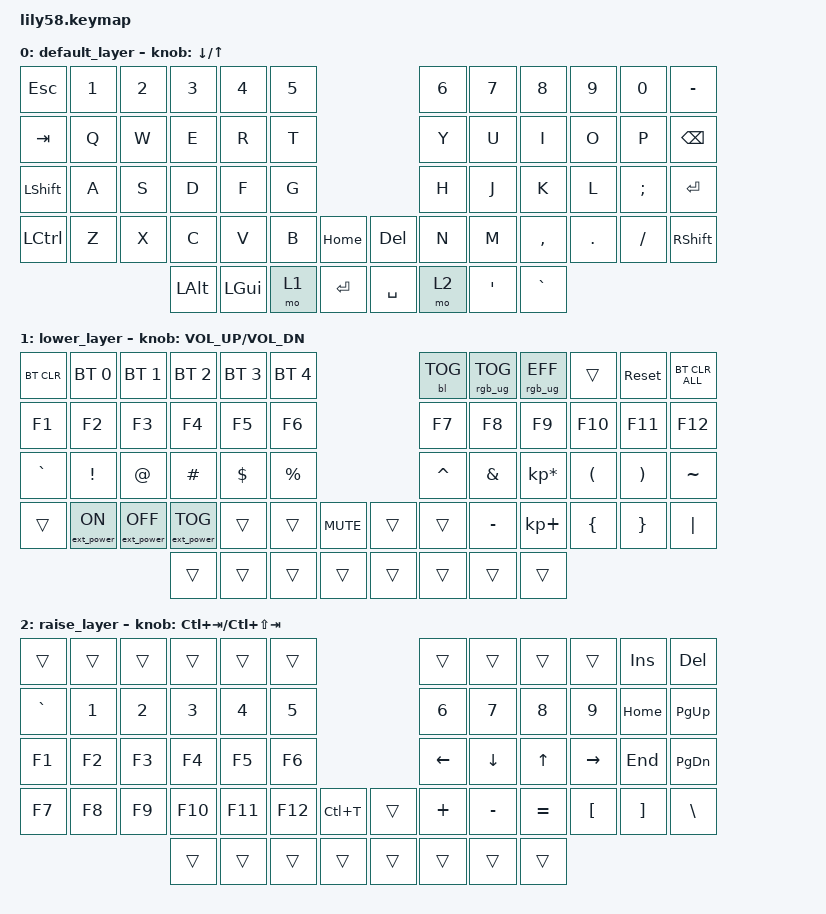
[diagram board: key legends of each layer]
/*
 * Copyright (c) 2020 The ZMK Contributors
 *
 * SPDX-License-Identifier: MIT
 */

#include <behaviors.dtsi>
#include <dt-bindings/zmk/backlight.h>
#include <dt-bindings/zmk/bt.h>
#include <dt-bindings/zmk/ext_power.h>
#include <dt-bindings/zmk/keys.h>
#include <dt-bindings/zmk/rgb.h>

/ {
    keymap {
        compatible = "zmk,keymap";

        default_layer {
            // ------------------------------------------------------------------------------------------------------------
            // |  ESC  |  1  |  2  |  3   |  4   |  5   |                   |  6   |  7    |  8    |  9   |   0   |   `   |
            // |  TAB  |  Q  |  W  |  E   |  R   |  T   |                   |  Y   |  U    |  I    |  O   |   P   |   -   |
            // |  CTRL |  A  |  S  |  D   |  F   |  G   |                   |  H   |  J    |  K    |  L   |   ;   |   '   |
            // | SHIFT |  Z  |  X  |  C   |  V   |  B   |   "["  |  |  "]"  |  N   |  M    |  ,    |  .   |   /   | SHIFT |
            //                     | ALT  | GUI  | LOWER|  SPACE |  | ENTER | RAISE| BSPC  | GUI   |

            bindings = <
&kp ESC    &kp N1  &kp N2  &kp N3    &kp N4    &kp N5                          &kp N6  &kp N7            &kp N8     &kp N9   &kp N0    &kp MINUS
&kp TAB    &kp Q   &kp W   &kp E     &kp R     &kp T                           &kp Y   &kp U             &kp I      &kp O    &kp P     &kp BACKSPACE
&kp LSHFT  &kp A   &kp S   &kp D     &kp F     &kp G                           &kp H   &kp J             &kp K      &kp L    &kp SEMI  &kp ENTER
&kp LCTRL  &kp Z   &kp X   &kp C     &kp V     &kp B   &kp HOME     &kp DELETE   &kp N   &kp M             &kp COMMA  &kp DOT  &kp FSLH  &kp RSHFT
                           &kp LALT  &kp LGUI  &mo 1   &kp ENTER    &kp SPACE  &mo 2   &kp SINGLE_QUOTE  &kp GRAVE
            >;

            sensor-bindings = <&inc_dec_kp DOWN UP_ARROW>;
        };

        lower_layer {
            // ------------------------------------------------------------------------------------------------------------
            // | BTCLR | BT1 | BT2 |  BT3 |  BT4 |  BT5 |                   |      |       |       |      |       |       |
            // |  F1   |  F2 |  F3 |  F4  |  F5  |  F6  |                   |  F7  |  F8   |  F9   |  F10 |  F11  |  F12  |
            // |   `   |  !  |  @  |  #   |  $   |  %   |                   |  ^   |  &    |  *    |  (   |   )   |   ~   |
            // |       |     |     |      |      |      |        |  |       |      |  _    |  +    |  {   |   }   |  "|"  |
            //                     |      |      |      |        |  |       |      |       |       |

            bindings = <
&bt BT_CLR  &bt BT_SEL 0      &bt BT_SEL 1       &bt BT_SEL 2       &bt BT_SEL 3  &bt BT_SEL 4                    &bl BL_TOG  &rgb_ug RGB_TOG  &rgb_ug RGB_EFF  &trans    &sys_reset  &bt BT_CLR_ALL
&kp F1      &kp F2            &kp F3             &kp F4             &kp F5        &kp F6                          &kp F7      &kp F8           &kp F9           &kp F10   &kp F11     &kp F12
&kp GRAVE   &kp EXCL          &kp AT             &kp HASH           &kp DOLLAR    &kp PRCNT                       &kp CARET   &kp AMPS         &kp KP_MULTIPLY  &kp LPAR  &kp RPAR    &kp TILDE
&trans      &ext_power EP_ON  &ext_power EP_OFF  &ext_power EP_TOG  &trans        &trans        &kp C_MUTE &trans  &trans      &kp MINUS        &kp KP_PLUS      &kp LBRC  &kp RBRC    &kp PIPE
                                                 &trans             &trans        &trans        &trans    &trans  &trans      &trans           &trans
            >;

            sensor-bindings = <&inc_dec_kp C_VOL_UP C_VOL_DN>;
        };

        raise_layer {
            // ------------------------------------------------------------------------------------------------------------
            // |       |     |     |      |      |      |                   |      |       |       |      |       |       |
            // |   `   |  1  |  2  |  3   |  4   |  5   |                   |  6   |   7   |   8   |  9   |   0   |       |
            // |   F1  |  F2 |  F3 |  F4  |  F5  |  F6  |                   |      |   <-  |   v   |  ^   |  ->   |       |
            // |   F7  |  F8 |  F9 |  F10 |  F11 |  F12 |        |  |       |  +   |   -   |   =   |  [   |   ]   |   \   |
            //                     |      |      |      |        |  |       |      |       |       |

            bindings = <
&trans     &trans  &trans  &trans   &trans   &trans                     &trans    &trans     &trans        &trans     &kp INS   &kp DELETE
&kp GRAVE  &kp N1  &kp N2  &kp N3   &kp N4   &kp N5                     &kp N6    &kp N7     &kp N8        &kp N9     &kp HOME  &kp PG_UP
&kp F1     &kp F2  &kp F3  &kp F4   &kp F5   &kp F6                     &kp LEFT  &kp DOWN   &kp UP_ARROW  &kp RIGHT  &kp END   &kp PAGE_DOWN
&kp F7     &kp F8  &kp F9  &kp F10  &kp F11  &kp F12  &kp LC(T)    &trans  &kp PLUS  &kp MINUS  &kp EQUAL     &kp LBKT   &kp RBKT  &kp BSLH
                           &trans   &trans   &trans   &trans    &trans  &trans    &trans     &trans
            >;

            sensor-bindings = <&inc_dec_kp LC(TAB) LC(LS(TAB))>;
        };
    };
};

&led_strip {
    chain-length = <35>; // 29(per-key) + 6(underglow)
};
